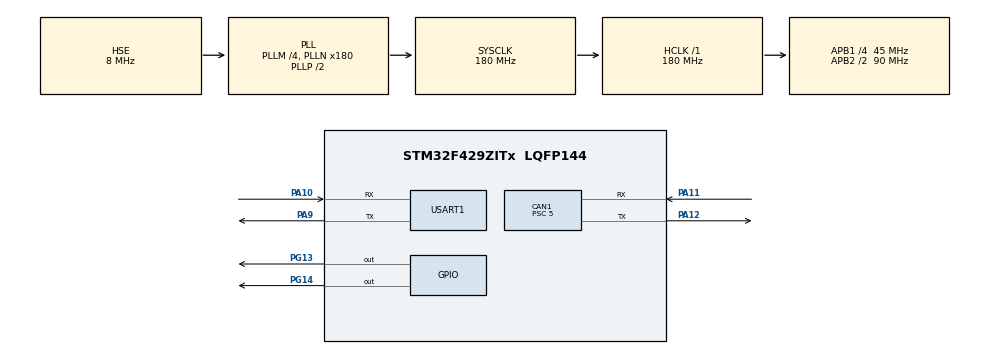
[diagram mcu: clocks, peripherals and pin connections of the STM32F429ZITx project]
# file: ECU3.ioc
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CAN1.BS1=CAN_BS1_9TQ
CAN1.BS2=CAN_BS2_8TQ
CAN1.CalculateBaudRate=500000
CAN1.CalculateTimeBit=2000
CAN1.CalculateTimeQuantum=111.11111111111111
CAN1.Prescaler=5
Mcu.Family=STM32F4
Mcu.Name=STM32F429ZITx
Mcu.Package=LQFP144
NVIC.CAN1_RX0_IRQn=true\:0\:0\:false\:false\:true\:true\:true\:true
NVIC.PriorityGroup=NVIC_PRIORITYGROUP_4
NVIC.USART1_IRQn=true\:0\:0\:false\:false\:true\:true\:true\:true
PA10.Mode=Asynchronous
PA10.Signal=USART1_RX
PA11.Mode=CAN_Activate
PA11.Signal=CAN1_RX
PA12.Mode=CAN_Activate
PA12.Signal=CAN1_TX
PA9.Mode=Asynchronous
PA9.Signal=USART1_TX
PG13.Signal=GPIO_Output
PG14.Signal=GPIO_Output
PH0/OSC_IN.Mode=HSE-External-Oscillator
PH0/OSC_IN.Signal=RCC_OSC_IN
PH1/OSC_OUT.Mode=HSE-External-Oscillator
PH1/OSC_OUT.Signal=RCC_OSC_OUT
ProjectManager.HeapSize=0x200
ProjectManager.StackSize=0x400
ProjectManager.TargetToolchain=STM32CubeIDE
RCC.48MHZClocksFreq_Value=90000000
RCC.AHBFreq_Value=180000000
RCC.APB1CLKDivider=RCC_HCLK_DIV4
RCC.APB1Freq_Value=45000000
RCC.APB1TimFreq_Value=90000000
RCC.APB2CLKDivider=RCC_HCLK_DIV2
RCC.APB2Freq_Value=90000000
RCC.APB2TimFreq_Value=180000000
RCC.CortexFreq_Value=180000000
RCC.HCLKFreq_Value=180000000
RCC.HSE_VALUE=8000000
RCC.HSI_VALUE=16000000
RCC.LSE_VALUE=32768
RCC.PLLM=4
RCC.PLLN=180
RCC.PLLSourceVirtual=RCC_PLLSOURCE_HSE
RCC.SYSCLKFreq_VALUE=180000000
RCC.SYSCLKSource=RCC_SYSCLKSOURCE_PLLCLK
RCC.VCOOutputFreq_Value=360000000
USART1.VirtualMode=VM_ASYNC
board=custom

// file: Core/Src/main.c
/* USER CODE BEGIN Header */
/**
 ******************************************************************************
 * @file           : main.c
 * @brief          : Main program body
 ******************************************************************************
 * @attention
 *
 * Copyright (c) 2026 STMicroelectronics.
 * All rights reserved.
 *
 * This software is licensed under terms that can be found in the LICENSE file
 * in the root directory of this software component.
 * If no LICENSE file comes with this software, it is provided AS-IS.
 *
 ******************************************************************************
 */
/* USER CODE END Header */
#include "main.h"

/* USER CODE BEGIN Includes */
#include<stdio.h>
#include<string.h>
/* USER CODE END Includes */

CAN_HandleTypeDef hcan1;

UART_HandleTypeDef huart1;

void SystemClock_Config(void);
static void MX_GPIO_Init(void);
static void MX_CAN1_Init(void);
static void MX_USART1_UART_Init(void);

/* USER CODE BEGIN 0 */
CAN_TxHeaderTypeDef TxHeader;
CAN_RxHeaderTypeDef RxHeader;
uint32_t TxMailbox;

uint8_t TxData[8], RxData[8];
uint8_t count;
uint8_t arr[6][20];
void HAL_CAN_RxFifo0MsgPendingCallback(CAN_HandleTypeDef *hcan) {
	if (HAL_CAN_GetRxMessage(hcan, CAN_RX_FIFO0, &RxHeader, RxData) == HAL_OK) {

		HAL_GPIO_TogglePin(GPIOG, GPIO_PIN_13); // Toggle Green LED
		if (RxHeader.StdId == 0x100) //temperature
				{
    		sprintf(arr[4],"%d",RxData[0]);
		} else if (RxHeader.StdId == 0x200) //speed
				{
    		sprintf(arr[1],"%d",RxData[0]);
		} else if (RxHeader.StdId == 0x300) //indicator
				{
    		    sprintf(arr[5],"%c",RxData[0]);
		} else if (RxHeader.StdId == 0x400)    //rpm
				{
   			sprintf(arr[2],"%d",RxData[0]);
		} else if (RxHeader.StdId == 0x500) //time
				{
			strncpy(arr[0], RxData, 8);
		} else if (RxHeader.StdId == 0x600) //gear
				{
			sprintf(arr[3],"%c%c",RxData[0],RxData[1]);
		}
	}
}
/* USER CODE END 0 */

int main(void)
{

  /* MCU Configuration--------------------------------------------------------*/

  /* Reset of all peripherals, Initializes the Flash interface and the Systick. */
  HAL_Init();

  /* Configure the system clock */
  SystemClock_Config();

  /* Initialize all configured peripherals */
  MX_GPIO_Init();
  MX_CAN1_Init();
  MX_USART1_UART_Init();
  /* USER CODE BEGIN 2 */
	HAL_CAN_Start(&hcan1);
	HAL_CAN_ActivateNotification(&hcan1, CAN_IT_RX_FIFO0_MSG_PENDING);
  /* USER CODE END 2 */

  /* Infinite loop */
  /* USER CODE BEGIN WHILE */
	uint8_t buf1[100], buf2[100] = "TIME\t\tSPEED\t\tRPM\t\tGEAR\t\tTEMP\t\tIND\r\n";
	HAL_UART_Transmit(&huart1, buf2, strlen(buf2), HAL_MAX_DELAY);
	while (1) {
		//convert 2D array to 1D array print
		sprintf(buf1, "%s\t%s\t\t%s\t\t%s\t\t%s\t\t%s\r", arr[0], arr[1], arr[2], arr[3], arr[4], arr[5]);
		HAL_UART_Transmit(&huart1, buf1, strlen(buf1), HAL_MAX_DELAY);
		HAL_GPIO_TogglePin(GPIOG, GPIO_PIN_14);
		HAL_Delay(1000);
    /* USER CODE END WHILE */

	}
}

void SystemClock_Config(void)
{
  RCC_OscInitTypeDef RCC_OscInitStruct = {0};
  RCC_ClkInitTypeDef RCC_ClkInitStruct = {0};

  /** Configure the main internal regulator output voltage
  */
  __HAL_RCC_PWR_CLK_ENABLE();
  __HAL_PWR_VOLTAGESCALING_CONFIG(PWR_REGULATOR_VOLTAGE_SCALE1);

  /** Initializes the RCC Oscillators according to the specified parameters
  * in the RCC_OscInitTypeDef structure.
  */
  RCC_OscInitStruct.OscillatorType = RCC_OSCILLATORTYPE_HSE;
  RCC_OscInitStruct.HSEState = RCC_HSE_ON;
  RCC_OscInitStruct.PLL.PLLState = RCC_PLL_ON;
  RCC_OscInitStruct.PLL.PLLSource = RCC_PLLSOURCE_HSE;
  RCC_OscInitStruct.PLL.PLLM = 4;
  RCC_OscInitStruct.PLL.PLLN = 180;
  RCC_OscInitStruct.PLL.PLLP = RCC_PLLP_DIV2;
  RCC_OscInitStruct.PLL.PLLQ = 4;
  if (HAL_RCC_OscConfig(&RCC_OscInitStruct) != HAL_OK)
  {
    Error_Handler();
  }

  /** Activate the Over-Drive mode
  */
  if (HAL_PWREx_EnableOverDrive() != HAL_OK)
  {
    Error_Handler();
  }

  /** Initializes the CPU, AHB and APB buses clocks
  */
  RCC_ClkInitStruct.ClockType = RCC_CLOCKTYPE_HCLK|RCC_CLOCKTYPE_SYSCLK
                              |RCC_CLOCKTYPE_PCLK1|RCC_CLOCKTYPE_PCLK2;
  RCC_ClkInitStruct.SYSCLKSource = RCC_SYSCLKSOURCE_PLLCLK;
  RCC_ClkInitStruct.AHBCLKDivider = RCC_SYSCLK_DIV1;
  RCC_ClkInitStruct.APB1CLKDivider = RCC_HCLK_DIV4;
  RCC_ClkInitStruct.APB2CLKDivider = RCC_HCLK_DIV2;

  if (HAL_RCC_ClockConfig(&RCC_ClkInitStruct, FLASH_LATENCY_5) != HAL_OK)
  {
    Error_Handler();
  }
}

static void MX_CAN1_Init(void)
{

  hcan1.Instance = CAN1;
  hcan1.Init.Prescaler = 5;
  hcan1.Init.Mode = CAN_MODE_NORMAL;
  hcan1.Init.SyncJumpWidth = CAN_SJW_1TQ;
  hcan1.Init.TimeSeg1 = CAN_BS1_9TQ;
  hcan1.Init.TimeSeg2 = CAN_BS2_8TQ;
  hcan1.Init.TimeTriggeredMode = DISABLE;
  hcan1.Init.AutoBusOff = DISABLE;
  hcan1.Init.AutoWakeUp = DISABLE;
  hcan1.Init.AutoRetransmission = DISABLE;
  hcan1.Init.ReceiveFifoLocked = DISABLE;
  hcan1.Init.TransmitFifoPriority = DISABLE;
  if (HAL_CAN_Init(&hcan1) != HAL_OK)
  {
    Error_Handler();
  }
  /* USER CODE BEGIN CAN1_Init 2 */
	CAN_FilterTypeDef sFilterConfig;

	sFilterConfig.FilterActivation = ENABLE;
	sFilterConfig.FilterBank = 0;
	sFilterConfig.FilterFIFOAssignment = CAN_FILTER_FIFO0;

	// For a 32-bit filter to accept StdId 0x103:
	// The StdId occupies bits [31:21] of the 32-bit register.
	sFilterConfig.FilterIdHigh = 0x0000;
	sFilterConfig.FilterIdLow = 0x0000;

	// To accept ONLY 0x103, set mask to all 1s in those positions (0x7FF << 5)
	// To accept EVERYTHING for testing, set mask to 0
	sFilterConfig.FilterMaskIdHigh = 0x0000;
	sFilterConfig.FilterMaskIdLow = 0x0000;

	sFilterConfig.FilterMode = CAN_FILTERMODE_IDMASK;
	sFilterConfig.FilterScale = CAN_FILTERSCALE_32BIT;
	sFilterConfig.SlaveStartFilterBank = 14;

	if (HAL_CAN_ConfigFilter(&hcan1, &sFilterConfig) != HAL_OK) {
		Error_Handler();
	}
  /* USER CODE END CAN1_Init 2 */

}

static void MX_USART1_UART_Init(void)
{

  huart1.Instance = USART1;
  huart1.Init.BaudRate = 115200;
  huart1.Init.WordLength = UART_WORDLENGTH_8B;
  huart1.Init.StopBits = UART_STOPBITS_1;
  huart1.Init.Parity = UART_PARITY_NONE;
  huart1.Init.Mode = UART_MODE_TX_RX;
  huart1.Init.HwFlowCtl = UART_HWCONTROL_NONE;
  huart1.Init.OverSampling = UART_OVERSAMPLING_16;
  if (HAL_UART_Init(&huart1) != HAL_OK)
  {
    Error_Handler();
  }

}

static void MX_GPIO_Init(void)
{
  GPIO_InitTypeDef GPIO_InitStruct = {0};

  /* GPIO Ports Clock Enable */
  __HAL_RCC_GPIOH_CLK_ENABLE();
  __HAL_RCC_GPIOA_CLK_ENABLE();
  __HAL_RCC_GPIOG_CLK_ENABLE();

  /*Configure GPIO pin Output Level */
  HAL_GPIO_WritePin(GPIOG, GPIO_PIN_13|GPIO_PIN_14, GPIO_PIN_RESET);

  /*Configure GPIO pins : PG13 PG14 */
  GPIO_InitStruct.Pin = GPIO_PIN_13|GPIO_PIN_14;
  GPIO_InitStruct.Mode = GPIO_MODE_OUTPUT_PP;
  GPIO_InitStruct.Pull = GPIO_NOPULL;
  GPIO_InitStruct.Speed = GPIO_SPEED_FREQ_LOW;
  HAL_GPIO_Init(GPIOG, &GPIO_InitStruct);

}

void Error_Handler(void)
{
	__disable_irq();
	while (1) {
	}
}
